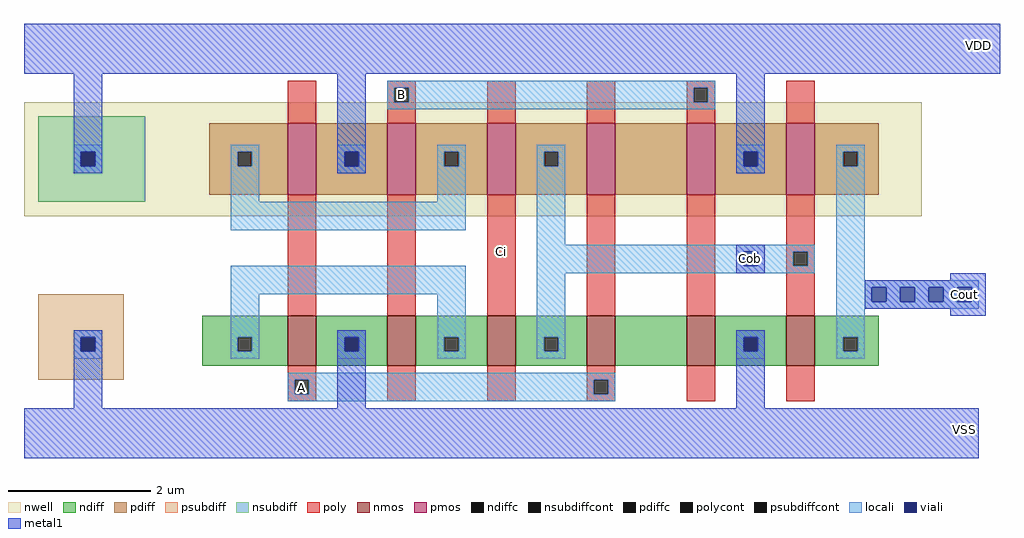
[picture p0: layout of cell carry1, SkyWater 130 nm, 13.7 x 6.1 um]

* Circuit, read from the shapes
.subckt carry1 A Cob VSS Cout VDD Ci B
XM1 VSS A n1 VSS sky130_fd_pr__nfet_01v8 w=0.7 l=0.4
XM2 n1 B VSS VSS sky130_fd_pr__nfet_01v8 w=0.7 l=0.4
XM3 Cob Ci n1 VSS sky130_fd_pr__nfet_01v8 w=0.7 l=0.4
XM4 n2 A Cob VSS sky130_fd_pr__nfet_01v8 w=0.7 l=0.4
XM5 VSS B n2 VSS sky130_fd_pr__nfet_01v8 w=0.7 l=0.4
XM6 Cout Cob VSS VSS sky130_fd_pr__nfet_01v8 w=0.7 l=0.4
XM7 VDD A n3 VDD sky130_fd_pr__pfet_01v8 w=1 l=0.4
XM8 n3 B VDD VDD sky130_fd_pr__pfet_01v8 w=1 l=0.4
XM9 Cob Ci n3 VDD sky130_fd_pr__pfet_01v8 w=1 l=0.4
XM10 n4 A Cob VDD sky130_fd_pr__pfet_01v8 w=1 l=0.4
XM11 VDD B n4 VDD sky130_fd_pr__pfet_01v8 w=1 l=0.4
XM12 Cout Cob VDD VDD sky130_fd_pr__pfet_01v8 w=1 l=0.4
.ends

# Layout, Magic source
magic
tech sky130A
<< nwell >>
rect 1330 30 2590 190
<< nmos >>
rect 1700 -180 1740 -110
rect 1840 -180 1880 -110
rect 1980 -180 2020 -110
rect 2120 -180 2160 -110
rect 2260 -180 2300 -110
rect 2400 -180 2440 -110
<< pmos >>
rect 1700 60 1740 160
rect 1840 60 1880 160
rect 1980 60 2020 160
rect 2120 60 2160 160
rect 2260 60 2300 160
rect 2400 60 2440 160
<< ndiff >>
rect 1580 -140 1700 -110
rect 1580 -160 1630 -140
rect 1650 -160 1700 -140
rect 1580 -180 1700 -160
rect 1740 -140 1840 -110
rect 1740 -160 1780 -140
rect 1800 -160 1840 -140
rect 1740 -180 1840 -160
rect 1880 -140 1980 -110
rect 1880 -160 1920 -140
rect 1940 -160 1980 -140
rect 1880 -180 1980 -160
rect 2020 -140 2120 -110
rect 2020 -160 2060 -140
rect 2080 -160 2120 -140
rect 2020 -180 2120 -160
rect 2160 -180 2260 -110
rect 2300 -140 2400 -110
rect 2300 -160 2340 -140
rect 2360 -160 2400 -140
rect 2300 -180 2400 -160
rect 2440 -140 2530 -110
rect 2440 -160 2480 -140
rect 2500 -160 2530 -140
rect 2440 -180 2530 -160
<< pdiff >>
rect 1590 120 1700 160
rect 1590 100 1630 120
rect 1650 100 1700 120
rect 1590 60 1700 100
rect 1740 120 1840 160
rect 1740 100 1780 120
rect 1800 100 1840 120
rect 1740 60 1840 100
rect 1880 120 1980 160
rect 1880 100 1920 120
rect 1940 100 1980 120
rect 1880 60 1980 100
rect 2020 120 2120 160
rect 2020 100 2060 120
rect 2080 100 2120 120
rect 2020 60 2120 100
rect 2160 60 2260 160
rect 2300 120 2400 160
rect 2300 100 2340 120
rect 2360 100 2400 120
rect 2300 60 2400 100
rect 2440 120 2530 160
rect 2440 100 2480 120
rect 2500 100 2530 120
rect 2440 60 2530 100
<< ndiffc >>
rect 1630 -160 1650 -140
rect 1780 -160 1800 -140
rect 1920 -160 1940 -140
rect 2060 -160 2080 -140
rect 2340 -160 2360 -140
rect 2480 -160 2500 -140
<< pdiffc >>
rect 1630 100 1650 120
rect 1780 100 1800 120
rect 1920 100 1940 120
rect 2060 100 2080 120
rect 2340 100 2360 120
rect 2480 100 2500 120
<< psubdiff >>
rect 1350 -140 1470 -80
rect 1350 -160 1410 -140
rect 1430 -160 1470 -140
rect 1350 -200 1470 -160
<< nsubdiff >>
rect 1350 120 1500 170
rect 1350 100 1410 120
rect 1430 100 1500 120
rect 1350 50 1500 100
<< psubdiffcont >>
rect 1410 -160 1430 -140
<< nsubdiffcont >>
rect 1410 100 1430 120
<< poly >>
rect 1700 160 1740 220
rect 1840 210 1880 220
rect 1840 190 1850 210
rect 1870 190 1880 210
rect 1840 160 1880 190
rect 1980 160 2020 220
rect 2120 160 2160 220
rect 2260 210 2300 220
rect 2260 190 2270 210
rect 2290 190 2300 210
rect 2260 160 2300 190
rect 2400 160 2440 220
rect 1700 -110 1740 60
rect 1840 -110 1880 60
rect 1980 -110 2020 60
rect 2120 -110 2160 60
rect 2260 -110 2300 60
rect 2400 -20 2440 60
rect 2400 -40 2410 -20
rect 2430 -40 2440 -20
rect 2400 -110 2440 -40
rect 1700 -200 1740 -180
rect 1700 -220 1710 -200
rect 1730 -220 1740 -200
rect 1700 -230 1740 -220
rect 1840 -230 1880 -180
rect 1980 -230 2020 -180
rect 2120 -200 2160 -180
rect 2120 -220 2130 -200
rect 2150 -220 2160 -200
rect 2120 -230 2160 -220
rect 2260 -230 2300 -180
rect 2400 -230 2440 -180
<< polycont >>
rect 1850 190 1870 210
rect 2270 190 2290 210
rect 2410 -40 2430 -20
rect 1710 -220 1730 -200
rect 2130 -220 2150 -200
<< locali >>
rect 1840 210 2300 220
rect 1840 190 1850 210
rect 1870 190 2270 210
rect 2290 190 2300 210
rect 1840 180 2300 190
rect 1400 120 1440 130
rect 1400 100 1410 120
rect 1430 100 1440 120
rect 1400 90 1440 100
rect 1620 120 1660 130
rect 1620 100 1630 120
rect 1650 100 1660 120
rect 1620 50 1660 100
rect 1770 120 1810 130
rect 1770 100 1780 120
rect 1800 100 1810 120
rect 1770 90 1810 100
rect 1910 120 1950 130
rect 1910 100 1920 120
rect 1940 100 1950 120
rect 1910 50 1950 100
rect 1620 10 1950 50
rect 2050 120 2090 130
rect 2050 100 2060 120
rect 2080 100 2090 120
rect 2050 -10 2090 100
rect 2330 120 2370 130
rect 2330 100 2340 120
rect 2360 100 2370 120
rect 2330 90 2370 100
rect 2470 120 2510 130
rect 2470 100 2480 120
rect 2500 100 2510 120
rect 2050 -20 2440 -10
rect 2050 -40 2340 -20
rect 2360 -40 2410 -20
rect 2430 -40 2440 -20
rect 1620 -80 1950 -40
rect 1400 -140 1440 -130
rect 1400 -160 1410 -140
rect 1430 -160 1440 -140
rect 1400 -170 1440 -160
rect 1620 -140 1660 -80
rect 1620 -160 1630 -140
rect 1650 -160 1660 -140
rect 1620 -170 1660 -160
rect 1770 -140 1810 -130
rect 1770 -160 1780 -140
rect 1800 -160 1810 -140
rect 1770 -170 1810 -160
rect 1910 -140 1950 -80
rect 1910 -160 1920 -140
rect 1940 -160 1950 -140
rect 1910 -170 1950 -160
rect 2050 -50 2440 -40
rect 2050 -140 2090 -50
rect 2470 -60 2510 100
rect 2470 -70 2670 -60
rect 2470 -90 2520 -70
rect 2540 -90 2560 -70
rect 2580 -90 2600 -70
rect 2620 -90 2640 -70
rect 2660 -90 2670 -70
rect 2470 -100 2670 -90
rect 2050 -160 2060 -140
rect 2080 -160 2090 -140
rect 2050 -170 2090 -160
rect 2330 -140 2370 -130
rect 2330 -160 2340 -140
rect 2360 -160 2370 -140
rect 2330 -170 2370 -160
rect 2470 -140 2510 -100
rect 2470 -160 2480 -140
rect 2500 -160 2510 -140
rect 2470 -170 2510 -160
rect 1700 -200 2160 -190
rect 1700 -220 1710 -200
rect 1730 -220 2130 -200
rect 2150 -220 2160 -200
rect 1700 -230 2160 -220
<< viali >>
rect 1410 100 1430 120
rect 1780 100 1800 120
rect 2340 100 2360 120
rect 2340 -40 2360 -20
rect 1410 -160 1430 -140
rect 1780 -160 1800 -140
rect 2520 -90 2540 -70
rect 2560 -90 2580 -70
rect 2600 -90 2620 -70
rect 2640 -90 2660 -70
rect 2340 -160 2360 -140
<< metal1 >>
rect 1330 230 2700 300
rect 1400 120 1440 230
rect 1400 100 1410 120
rect 1430 100 1440 120
rect 1400 90 1440 100
rect 1770 120 1810 230
rect 1770 100 1780 120
rect 1800 100 1810 120
rect 1770 90 1810 100
rect 2330 120 2370 230
rect 2330 100 2340 120
rect 2360 100 2370 120
rect 2330 90 2370 100
rect 2330 -20 2370 -10
rect 2330 -40 2340 -20
rect 2360 -40 2370 -20
rect 2330 -50 2370 -40
rect 2630 -60 2680 -50
rect 2510 -70 2680 -60
rect 2510 -90 2520 -70
rect 2540 -90 2560 -70
rect 2580 -90 2600 -70
rect 2620 -90 2640 -70
rect 2660 -90 2680 -70
rect 2510 -100 2680 -90
rect 2630 -110 2680 -100
rect 1400 -140 1440 -130
rect 1400 -160 1410 -140
rect 1430 -160 1440 -140
rect 1400 -240 1440 -160
rect 1770 -140 1810 -130
rect 1770 -160 1780 -140
rect 1800 -160 1810 -140
rect 1770 -240 1810 -160
rect 2330 -140 2370 -130
rect 2330 -160 2340 -140
rect 2360 -160 2370 -140
rect 2330 -240 2370 -160
rect 1330 -310 2670 -240
<< labels >>
flabel metal1 2660 260 2680 280 0 FreeSans 64 0 0 0 VDD
port 7 nsew
flabel viali 2640 -90 2660 -70 0 FreeSans 64 0 0 0 Cout
port 6 nsew
flabel viali 2340 -40 2360 -20 0 FreeSans 64 0 0 0 Cob
port 4 nsew
flabel polycont 1710 -220 1730 -200 0 FreeSans 80 0 0 0 A
port 1 nsew
flabel metal1 2640 -280 2660 -260 0 FreeSans 64 0 0 0 VSS
port 5 nsew
flabel poly 1990 -30 2010 -10 0 FreeSans 64 0 0 0 Ci
port 8 nsew
flabel polycont 1850 190 1870 210 0 FreeSans 64 0 0 0 B
port 9 nsew
<< end >>
